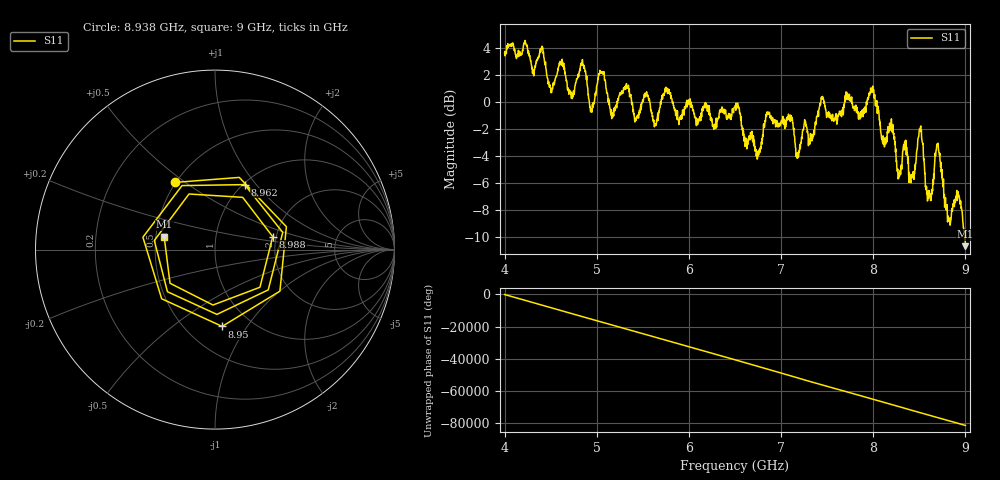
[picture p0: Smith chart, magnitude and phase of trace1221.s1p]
! Created with skrf 1.8.0 (http://scikit-rf.org).
# Hz S RI R 50.0
!freq ReS11 ImS11
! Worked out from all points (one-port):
!   1601 points, 4 GHz to 9 GHz, reference 50 ohm
!   lowest |S11| = -10.7 dB at 9 GHz (marker M1), VSWR 1.83, Z = 27.7 + j4.36 ohm
!   |S11| at or under -10 dB: 8.992753 GHz to end of sweep
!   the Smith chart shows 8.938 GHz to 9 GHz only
!   S11 on the Smith chart (normalised r, x): 8.938 GHz: 0.50, +0.46; 8.95 GHz: 0.74, -0.77; 8.962 GHz: 1.02, +0.87; 8.988 GHz: 1.92, +0.31; 9 GHz: 0.55, +0.09
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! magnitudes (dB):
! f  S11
! 4 GHz  3.7
! 4.625 GHz  3.2
! 4.731 GHz  0.7
! 4.853 GHz  2.8
! 4.944 GHz  -0.5
! 5.044 GHz  2.1
! 5.162 GHz  -1.2
! 5.25 GHz  0.7
! 5.875 GHz  -0.7
! 6.5 GHz  -0.3
! 6.747 GHz  -3.8
! 6.853 GHz  -0.8
! 7.125 GHz  -1.5
! 7.184 GHz  -3.7
! 7.444 GHz  0.2
! 7.75 GHz  0.2
! 7.994 GHz  1.2
! 8.275 GHz  -5.7
! 8.375 GHz  -4.5
! 8.509 GHz  -2.0
! 8.606 GHz  -6.5
! 8.697 GHz  -3.2
! 8.812 GHz  -8.4
! 8.938 GHz  -7.2
! 8.95 GHz  -7.3
! 8.962 GHz  -8.0
! 8.988 GHz  -9.6
! 9 GHz  -10.7
